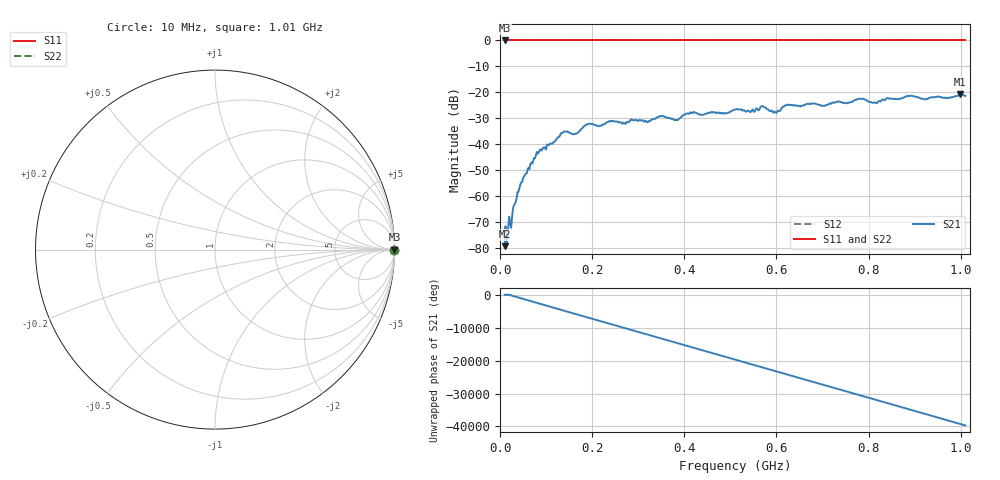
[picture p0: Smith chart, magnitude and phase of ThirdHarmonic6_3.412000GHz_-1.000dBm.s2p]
! 8/17/2025 10:55:40 AM
! C:\ANRITSUVNA\TEMP\TEMP.S2P
! CHANNEL.1
! TR.MEASUREMENT
! RAW.DATA
! RF.CORRECTION.OFF
! AVERAGING.OFF
! IF.BANDWIDTH: 5KHZ
! SWEEPTYPE:  FREQ.SWEEP(Linear)
! Reference Plane Port Info
! PORT:  PORT1  PORT2
! DISTANCE:  0  m  0  m
! TIME:  0  s  0  s
! PHASE.OFFSET:  0  deg.  0  deg.
! LOSS:  0  dB  0  dB
! REF.LOSS:  0  dB  0  dB
! REF.FREQ:  0  Hz  0  Hz
! Power Info
! POWER:  -20  dBm  -20  dBm
! EFF.POWER:  -20  dBm  -20  dBm
! SOURCE.ATTEN:  0  dB  0  dB
! TEST.ATTEN:  0  dB  0  dB
# GHZ S RI R 50.0
! FREQ.GHZ  S11RE  S11IM  S21RE  S21IM  S12RE  S12IM  S22RE  S22IM
!; PortSelection: Port_12
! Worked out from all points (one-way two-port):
!   501 points, 10 MHz to 1.01 GHz, reference 50 ohm
!   highest |S21| = -20.82 dB at 998 MHz (marker M1); lowest = -79.4 dB at 10 MHz (marker M2)
!   lowest |S11| = 0.0 dB at 10 MHz (marker M3)
!   |S11| at or under -10 dB: nowhere
!   |S22| runs from 0.0 to 0.0 dB; largest |S21 - S12| = 1.1
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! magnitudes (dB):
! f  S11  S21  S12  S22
! 10 MHz  0.0  -79.4  0.0  0.0
! 42 MHz  0.0  -57.0  0.0  0.0
! 78 MHz  0.0  -44.4  0.0  0.0
! 136 MHz  0.0  -35.6  0.0  0.0
! 164 MHz  0.0  -36.1  0.0  0.0
! 178 MHz  0.0  -34.0  0.0  0.0
! 194 MHz  0.0  -32.1  0.0  0.0
! 322 MHz  0.0  -31.3  0.0  0.0
! 344 MHz  0.0  -29.6  0.0  0.0
! 382 MHz  0.0  -30.8  0.0  0.0
! 416 MHz  0.0  -28.1  0.0  0.0
! 510 MHz  0.0  -26.7  0.0  0.0
! 548 MHz  0.0  -26.6  0.0  0.0
! 570 MHz  0.0  -25.4  0.0  0.0
! 596 MHz  0.0  -27.4  0.0  0.0
! 622 MHz  0.0  -24.9  0.0  0.0
! 678 MHz  0.0  -24.3  0.0  0.0
! 784 MHz  0.0  -22.6  0.0  0.0
! 814 MHz  0.0  -23.9  0.0  0.0
! 844 MHz  0.0  -22.4  0.0  0.0
! 998 MHz  0.0  -20.8  0.0  0.0
! 1.01 GHz  0.0  -21.4  0.0  0.0
